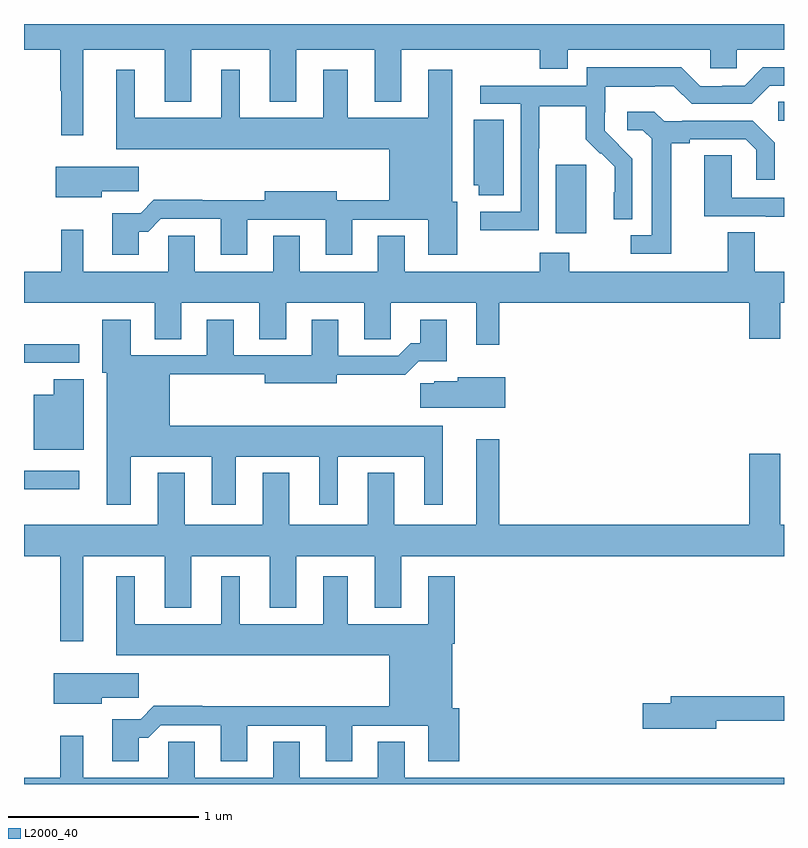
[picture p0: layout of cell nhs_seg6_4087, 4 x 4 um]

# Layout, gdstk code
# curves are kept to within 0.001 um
import gdstk
lib = gdstk.Library(unit=1e-6, precision=1e-09)
def R(c, l, rs):  # rectangles x0, y0, x1, y1
    for r in rs: c.add(gdstk.rectangle(r[:2], r[2:], *l))
def P(c, l, *ps):  # polygons
    for p in ps: c.add(gdstk.Polygon(p, *l))
L2000_40 = (2000, 40)

nhs_seg6_4087 = lib.new_cell('nhs_seg6_4087')
R(nhs_seg6_4087, L2000_40, [(353,917.051,353.29,917.148), (353,917.718,353.29,917.814), (355.799,918.399,355.96,918.76), (356.97,918.99,357,919.091)])
P(nhs_seg6_4087, L2000_40, [(353.311,919.364),(353.741,919.364),(353.741,919.091),(353.881,919.091),(353.881,919.364),(354.293,919.364),(354.293,919.091),(354.433,919.091),(354.433,919.364),(354.845,919.364),(354.845,919.091),(354.985,919.091),(354.985,919.364),(355.714,919.364),(355.714,919.265),(355.861,919.265),(355.861,919.364),(356.613,919.364),(356.613,919.266),(356.751,919.266),(356.751,919.364),(357,919.364),(357,919.5),(353,919.5),(353,919.364),(353.19,919.364),(353.19,919.148),(353.197,919.148),(353.197,918.915),(353.311,918.915)],
  [(355.71,918.847),(355.713,918.847),(355.713,919.068),(355.957,919.068),(355.957,918.893),(356.034,918.816),(356.037,918.819),(356.108,918.749),(356.108,918.614),(356.105,918.614),(356.105,918.472),(356.202,918.472),(356.202,918.79),(356.056,918.938),(356.056,919.035),(356.058,919.035),(356.058,919.169),(356.321,919.169),(356.321,919.173),(356.421,919.173),(356.514,919.08),(356.829,919.08),(356.925,919.176),(357,919.176),(357,919.272),(356.889,919.272),(356.793,919.176),(356.675,919.176),(356.675,919.173),(356.559,919.173),(356.459,919.273),(355.962,919.273),(355.962,919.176),(355.401,919.176),(355.401,919.08),(355.614,919.08),(355.614,918.513),(355.401,918.513),(355.401,918.415),(355.71,918.415)],
  [(353.605,918.407),(353.654,918.407),(353.721,918.474),(354.035,918.474),(354.035,918.285),(354.175,918.285),(354.175,918.471),(354.587,918.47),(354.587,918.285),(354.727,918.285),(354.727,918.471),(355.127,918.471),(355.127,918.285),(355.279,918.285),(355.279,918.564),(355.255,918.564),(355.255,919.258),(355.127,919.258),(355.127,919.006),(354.703,919.006),(354.703,919.258),(354.575,919.258),(354.575,919.006),(354.136,919.006),(354.136,919.258),(354.038,919.258),(354.038,919.006),(353.584,919.006),(353.584,919.258),(353.486,919.258),(353.486,918.842),(354.923,918.842),(354.923,918.572),(354.646,918.572),(354.646,918.619),(354.266,918.619),(354.266,918.572),(353.939,918.572),(353.939,918.575),(353.684,918.575),(353.614,918.505),(353.465,918.505),(353.465,918.285),(353.605,918.285)],
  [(356.407,918.872),(356.503,918.872),(356.503,918.894),(356.798,918.894),(356.855,918.837),(356.855,918.681),(356.952,918.681),(356.952,918.874),(356.836,918.99),(356.464,918.99),(356.464,918.987),(356.37,918.987),(356.318,919.039),(356.175,919.039),(356.175,918.942),(356.256,918.942),(356.303,918.895),(356.303,918.387),(356.193,918.387),(356.193,918.291),(356.407,918.291)],
  [(355.525,918.995),(355.367,918.995),(355.367,918.651),(355.394,918.651),(355.394,918.598),(355.525,918.598)],
  [(357,918.585),(356.724,918.585),(356.724,918.809),(356.579,918.809),(356.579,918.489),(356.903,918.489),(356.903,918.485),(357,918.485)],
  [(353.41,918.619),(353.605,918.619),(353.605,918.748),(353.166,918.748),(353.166,918.587),(353.41,918.587)],
  [(355.501,918.032),(356.816,918.032),(356.816,917.844),(356.98,917.844),(356.98,918.032),(357,918.032),(357,918.196),(356.845,918.196),(356.845,918.404),(356.705,918.404),(356.705,918.196),(355.869,918.196),(355.869,918.295),(355.714,918.295),(355.714,918.196),(355.003,918.196),(355.003,918.386),(354.863,918.386),(354.863,918.196),(354.451,918.196),(354.451,918.385),(354.311,918.385),(354.311,918.196),(353.899,918.196),(353.899,918.386),(353.76,918.386),(353.76,918.196),(353.311,918.196),(353.311,918.418),(353.197,918.418),(353.197,918.196),(353,918.196),(353,918.032),(353.687,918.032),(353.687,917.842),(353.827,917.842),(353.827,918.032),(354.239,918.032),(354.239,917.842),(354.379,917.842),(354.379,918.032),(354.791,918.032),(354.791,917.842),(354.93,917.842),(354.93,918.032),(355.379,918.032),(355.379,917.811),(355.501,917.811)],
  [(353.563,917.222),(353.987,917.222),(353.987,916.971),(354.115,916.971),(354.115,917.222),(354.554,917.222),(354.554,916.971),(354.652,916.971),(354.652,917.222),(355.106,917.222),(355.106,916.971),(355.204,916.971),(355.204,917.386),(353.767,917.386),(353.767,917.656),(354.266,917.656),(354.266,917.609),(354.646,917.609),(354.646,917.654),(355.007,917.654),(355.077,917.724),(355.225,917.724),(355.225,917.944),(355.085,917.944),(355.085,917.821),(355.036,917.821),(354.969,917.754),(354.655,917.754),(354.655,917.944),(354.515,917.944),(354.515,917.757),(354.103,917.757),(354.103,917.944),(353.963,917.944),(353.963,917.757),(353.563,917.757),(353.563,917.944),(353.411,917.944),(353.411,917.664),(353.435,917.664),(353.435,916.971),(353.563,916.971)],
  [(355.534,917.641),(355.284,917.641),(355.284,917.62),(355.158,917.62),(355.158,917.609),(355.086,917.609),(355.086,917.48),(355.534,917.48)],
  [(353.314,917.629),(353.156,917.629),(353.156,917.548),(353.051,917.548),(353.051,917.258),(353.314,917.258)],
  [(353.311,916.7),(353.741,916.7),(353.741,916.427),(353.881,916.427),(353.881,916.7),(354.293,916.7),(354.293,916.427),(354.433,916.427),(354.433,916.7),(354.845,916.7),(354.845,916.427),(354.985,916.427),(354.985,916.7),(357,916.7),(357,916.864),(356.98,916.864),(356.98,917.239),(356.816,917.239),(356.816,916.864),(355.501,916.864),(355.501,917.314),(355.379,917.314),(355.379,916.864),(354.949,916.864),(354.949,917.137),(354.809,917.137),(354.809,916.864),(354.397,916.864),(354.397,917.137),(354.257,917.137),(354.257,916.864),(353.845,916.864),(353.845,917.137),(353.705,917.137),(353.705,916.864),(353,916.864),(353,916.7),(353.19,916.7),(353.19,916.251),(353.311,916.251)],
  [(353.605,915.743),(353.654,915.743),(353.721,915.81),(354.035,915.81),(354.035,915.621),(354.175,915.621),(354.175,915.807),(354.587,915.807),(354.587,915.621),(354.727,915.621),(354.727,915.807),(355.127,915.807),(355.127,915.621),(355.292,915.621),(355.292,915.9),(355.255,915.9),(355.255,916.238),(355.268,916.238),(355.268,916.594),(355.127,916.594),(355.127,916.342),(354.703,916.342),(354.703,916.594),(354.575,916.594),(354.575,916.342),(354.136,916.342),(354.136,916.594),(354.038,916.594),(354.038,916.342),(353.584,916.342),(353.584,916.594),(353.486,916.594),(353.486,916.178),(354.923,916.178),(354.923,915.908),(353.939,915.908),(353.939,915.911),(353.684,915.911),(353.614,915.841),(353.465,915.841),(353.465,915.621),(353.605,915.621)],
  [(353.41,915.955),(353.605,915.955),(353.605,916.084),(353.156,916.084),(353.156,915.923),(353.41,915.923)],
  [(356.644,915.834),(357,915.834),(357,915.962),(356.405,915.962),(356.405,915.926),(356.256,915.926),(356.256,915.791),(356.644,915.791)],
  [(357,915.532),(355.003,915.532),(355.003,915.722),(354.863,915.722),(354.863,915.532),(354.451,915.532),(354.451,915.722),(354.311,915.722),(354.311,915.532),(353.899,915.532),(353.899,915.722),(353.76,915.722),(353.76,915.532),(353.311,915.532),(353.311,915.754),(353.19,915.754),(353.19,915.532),(353,915.532),(353,915.5),(357,915.5)])

lib.write_gds('nhs_seg6_4087.gds')
